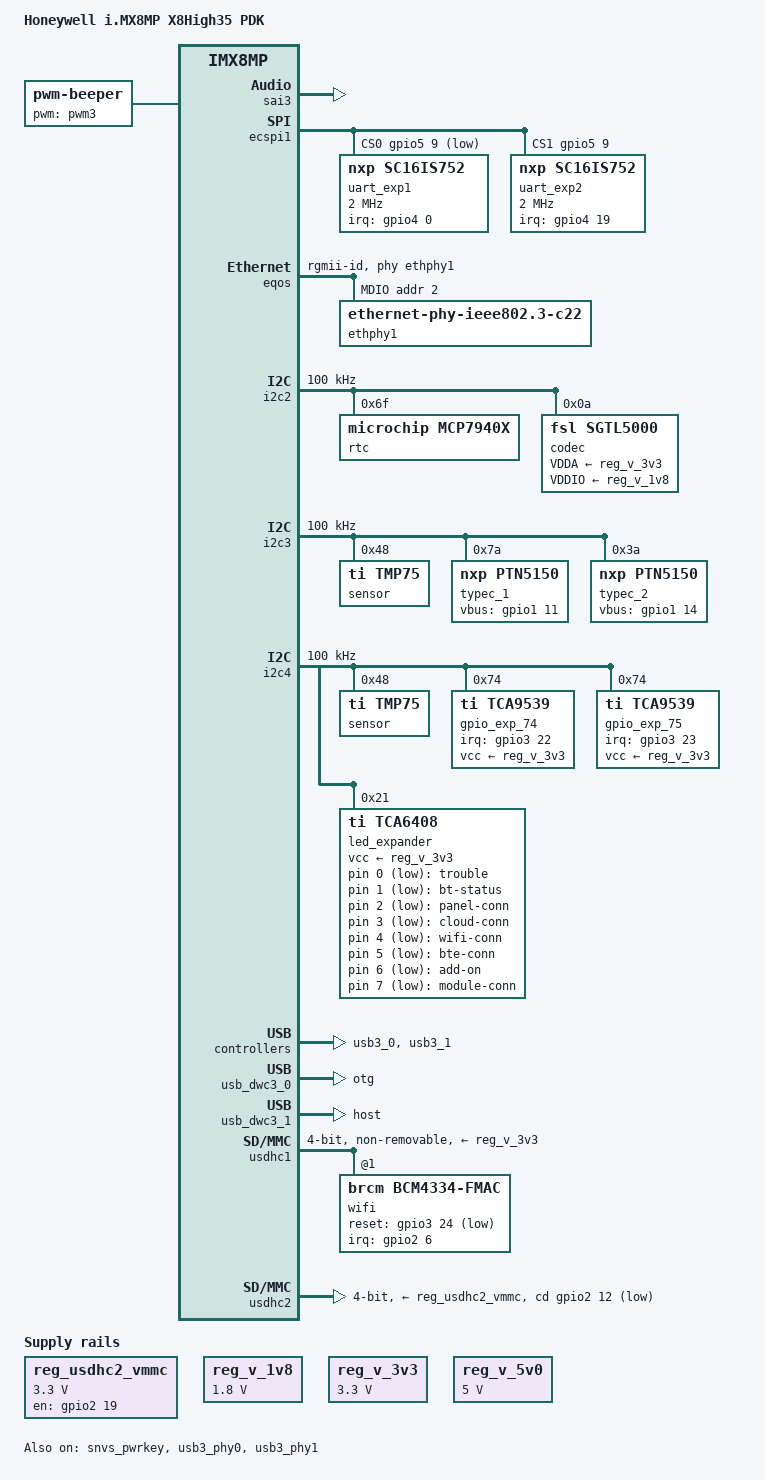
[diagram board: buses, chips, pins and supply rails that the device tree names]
// SPDX-License-Identifier: (GPL-2.0 OR MIT)
/*
 * Copyright (C) 2018 Jon Nettleton <jon@solid-run.com>
 */

/dts-v1/;

#include "dt-bindings/usb/pd.h"
#include "imx8mp-x8high35-som.dtsi"

/ {
	model = "Honeywell i.MX8MP X8High35 PDK";
	compatible = "Honeywell,x8high35-pdk", "fsl,imx8mp";

	aliases {
		rtc0 = &rtc;
		rtc1 = &snvs_rtc;
	};

	beeper {
		compatible = "pwm-beeper";
		pwms = <&pwm3>;
	};

	chosen {
		stdout-path = &uart2;
	};

	firmware {
		optee {
			compatible = "linaro,optee-tz";
			method = "smc";
		};
	};


	leds {
		compatible = "gpio-leds";

		dl14 {
			label = "trouble";
			gpios = <&led_expander 0 GPIO_ACTIVE_LOW>;
		};

		dl15 {
			label = "bt-status";
			gpios = <&led_expander 1 GPIO_ACTIVE_LOW>;
		};

		dl16 {
			label = "panel-conn";
			gpios = <&led_expander 2 GPIO_ACTIVE_LOW>;
		};

		dl17 {
			label = "cloud-conn";
			gpios = <&led_expander 3 GPIO_ACTIVE_LOW>;
		};

		dl18 {
			label = "wifi-conn";
			gpios = <&led_expander 4 GPIO_ACTIVE_LOW>;
		};

		dl19 {
			label = "bte-conn";
			gpios = <&led_expander 5 GPIO_ACTIVE_LOW>;
		};

		dl20 {
			label = "add-on";
			gpios = <&led_expander 6 GPIO_ACTIVE_LOW>;
		};

		dl21 {
			label = "module-conn";
			gpios = <&led_expander 7 GPIO_ACTIVE_LOW>;
		};
	};

	bus@30c00000 { /* AIPS5 */
		compatible = "simple-bus";
		reg = <0x30c00000 0x400000>;
		#address-cells = <1>;
		#size-cells = <1>;
		ranges;

		spba-bus@30c00000 {
			compatible = "fsl,spba-bus", "simple-bus";
			reg = <0x30c00000 0x100000>;
			#address-cells = <1>;
			#size-cells = <1>;
			ranges;

			sai3: sai@30c30000 {
				#sound-dai-cells = <0>;
				compatible = "fsl,imx8mq-sai";
				reg = <0x308c0000 0x10000>;
				interrupts = <GIC_SPI 50 IRQ_TYPE_LEVEL_HIGH>;
				clocks = <&clk IMX8MP_CLK_AUDIOMIX_SAI3_IPG>,
				     <&clk IMX8MP_CLK_DUMMY>, <&clk IMX8MP_CLK_AUDIOMIX_SAI3_MCLK1>,
				     <&clk IMX8MP_CLK_DUMMY>, <&clk IMX8MP_CLK_DUMMY>;
				clock-names = "bus", "mclk0", "mclk1", "mclk2", "mclk3";
				dmas = <&sdma1 12 24 0>, <&sdma1 13 24 0>;
				dma-names = "rx", "tx";
				status = "disabled";
			};
		};
	};

	reg_usdhc2_vmmc: regulator-usdhc2-vmmc {
		compatible = "regulator-fixed";
		pinctrl-names = "default";
		pinctrl-0 = <&pinctrl_reg_usdhc2_vmmc>;
		regulator-name = "VSD_3V3";
		regulator-min-microvolt = <3300000>;
		regulator-max-microvolt = <3300000>;
		gpio = <&gpio2 19 GPIO_ACTIVE_HIGH>;
		enable-active-high;
	};

	reg_v_1v8: regulator-v-1v8 {
		compatible = "regulator-fixed";
		regulator-name = "v_1v8";
		regulator-max-microvolt = <1800000>;
		regulator-min-microvolt = <1800000>;
		regulator-always-on;
	};

	reg_v_3v3: regulator-v-3v3 {
		compatible = "regulator-fixed";
		regulator-name = "v_3v3";
		regulator-max-microvolt = <3300000>;
		regulator-min-microvolt = <3300000>;
		regulator-always-on;
	};

	reg_v_5v0: regulator-v-5v0 {
		compatible = "regulator-fixed";
		regulator-name = "v_5v0";
		regulator-max-microvolt = <5000000>;
		regulator-min-microvolt = <5000000>;
		regulator-always-on;
	};
};

&ecspi1 {
	pinctrl-names = "default";
	pinctrl-0 = <&pinctrl_ecspi1 &pinctrl_ecspi1_cs0
		&pinctrl_uart_exp1_int &pinctrl_uart_exp2_int>;
	cs-gpios = <&gpio5 9 GPIO_ACTIVE_LOW>,
		<&gpio5 9 GPIO_ACTIVE_HIGH>;
	status = "okay";

	#address-cells = <1>;
	#size-cells = <0>;

	uart_exp1@0 {
		compatible = "nxp,sc16is752";
		reg = <0x0>;
		interrupt-parent = <&gpio4>;
		interrupts = <0 IRQ_TYPE_EDGE_FALLING>;
		clock-frequency = <14745600>;
		spi-max-frequency = <2000000>;
    };

	uart_exp2@1 {
		compatible = "nxp,sc16is752";
		reg = <0x1>;
		interrupt-parent = <&gpio4>;
		interrupts = <19 IRQ_TYPE_EDGE_FALLING>;
		clock-frequency = <14745600>;
		spi-max-frequency = <2000000>;
    };
};

&eqos {
	pinctrl-names = "default";
	pinctrl-0 = <&pinctrl_eqos>;
	phy-mode = "rgmii-id";
	phy-handle = <&ethphy1>;
	status = "okay";

	mdio {
		compatible = "snps,dwmac-mdio";
		#address-cells = <1>;
		#size-cells = <0>;

		ethphy1: ethernet-phy@2 {
			compatible = "ethernet-phy-ieee802.3-c22";
			reg = <2>;
			eee-broken-1000t;
			eee-broken-100tx;
			eee-broken-10gt;
		};
	};
};

&i2c2 {
	pinctrl-names = "default";
	pinctrl-0 = <&pinctrl_i2c2>;
	clock-frequency = <100000>;
	status = "okay";

	rtc: rtc@6f {
		compatible = "microchip,mcp7940x";
		reg = <0x6f>;
	};

	codec: sgtl5000@a {
		#sound-dai-cells = <0>;
		compatible = "fsl,sgtl5000";
		reg = <0xa>;
		VDDA-supply = <&reg_v_3v3>;
		VDDIO-supply = <&reg_v_1v8>;
		clocks = <&clk IMX8MP_CLK_AUDIOMIX_SAI3_MCLK1>;
	};

	/* ToDo: CSI1/2 , DSI */
};

&i2c3 {
	pinctrl-names = "default";
	pinctrl-0 = <&pinctrl_i2c3>;
	clock-frequency = <100000>;
	status = "okay";

	sensor@48 {
		compatible = "ti,tmp75";
		reg = <0x48>;
	};

	typec_1: ptn5150@7a {
		compatible = "nxp,ptn5150";
		reg = <0x7a>;
		vbus-gpio = <&gpio1 11 GPIO_ACTIVE_HIGH>;
		status = "okay";
	};

	typec_2: ptn5150@3a {
		compatible = "nxp,ptn5150";
		reg = <0x3a>;
		vbus-gpio = <&gpio1 14 GPIO_ACTIVE_HIGH>;
		status = "okay";
	};

	/* ToDo: Pi, LVDS0/1 */
};

&i2c4 {
	pinctrl-names = "default";
	pinctrl-0 = <&pinctrl_i2c4>;
	clock-frequency = <100000>;
	status = "okay";

	sensor@48 {
		compatible = "ti,tmp75";
		reg = <0x48>;
	};

	gpio_exp_74: gpio@74 {
		compatible = "ti,tca9539";
		reg = <0x74>;
		gpio-controller;
		#gpio-cells = <2>;
		interrupt-controller;
		interrupt-parent = <&gpio3>;
		interrupts = <22 IRQ_TYPE_EDGE_FALLING>;
		vcc-supply = <&reg_v_3v3>;

		port1_3v3_pwr_ctl {
			gpio-hog;
			gpios = <0 GPIO_ACTIVE_HIGH>;
			line-name = "PORT1_3V3_PWR_CTL";
		};

		nint_port1 {
			gpio-hog;
			gpios = <1 GPIO_ACTIVE_LOW>;
			line-name = "nINT_PORT1";
		};

		port1_nrst {
			gpio-hog;
			gpios = <2 GPIO_ACTIVE_LOW>;
			line-name = "PORT1_nRST";
		};

		/* ToDo: GPIO/SPI_CTS_PORT1 (P03) */

		board_id_1 {
			gpio-hog;
			gpios = <4 0>;
			input;
			line-name = "BOARD_ID_1";
		};

		board_id_2 {
			gpio-hog;
			gpios = <5 0>;
			input;
			line-name = "BOARD_ID_2";
		};

		board_id_3 {
			gpio-hog;
			gpios = <6 0>;
			input;
			line-name = "BOARD_ID_3";
		};

		board_id_4 {
			gpio-hog;
			gpios = <7 0>;
			input;
			line-name = "BOARD_ID_4";
		};

		lte_igt {
			gpio-hog;
			gpios = <8 GPIO_ACTIVE_HIGH>;
			output-low;
			line-name = "LTE_IGT";
		};

		lte_radio_usb_ctrl {
			gpio-hog;
			gpios = <9 GPIO_ACTIVE_HIGH>;
			output-low;
			line-name = "LTE_RADIO_USB_CTR";
		};

		lte_power_en {
			gpio-hog;
			gpios = <10 GPIO_ACTIVE_HIGH>;
			output-low;
			line-name = "LTE_POWER_EN";
		};

		lte_emergency_off {
			gpio-hog;
			gpios = <11 GPIO_ACTIVE_HIGH>;
			output-low;
			line-name = "LTE_EMERGENCY_OFF";
		};

		lte_uart_dtr {
			gpio-hog;
			gpios = <12 GPIO_ACTIVE_HIGH>;
			output-low;
			line-name = "LTE_UART_DTR";
		};

		lte_vdd5v_en {
			gpio-hog;
			gpios = <13 GPIO_ACTIVE_HIGH>;
			output-low;
			line-name = "LTE_VDD5V_EN";
		};

		/* ToDo: GPIO/SPI_CTS_PORT1 (P03) */

		lte_ring_wakeup {
			gpio-hog;
			gpios = <15 GPIO_ACTIVE_HIGH>;
			output-low;
			line-name = "LTE_RING_WAKEUP";
		};
	};

	gpio_exp_75: gpio@75 {
		compatible = "ti,tca9539";
		reg = <0x74>;
		gpio-controller;
		#gpio-cells = <2>;
		interrupt-controller;
		interrupt-parent = <&gpio3>;
		interrupts = <23 IRQ_TYPE_EDGE_FALLING>;
		vcc-supply = <&reg_v_3v3>;
	};

	led_expander: led-controller@21 {
		compatible = "ti,tca6408";
		reg = <0x21>;
		vcc-supply = <&reg_v_3v3>;
		gpio-controller;
		#gpio-cells = <2>;
	};
};

&sai3 {
	pinctrl-names = "default";
	pinctrl-0 = <&pinctrl_sai3>;
	assigned-clocks = <&clk IMX8MP_CLK_SAI3>;
	assigned-clock-parents = <&clk IMX8MP_AUDIO_PLL1_OUT>;
	assigned-clock-rates = <24576000>;
	fsl,sai-mclk-direction-output;
	status = "okay";
};

&snvs_pwrkey {
	status = "okay";
};

&usb3_phy0 {
	status = "okay";
};

&usb3_0 {
	status = "okay";
};

&usb_dwc3_0 {
	pinctrl-names = "default";
	pinctrl-0 = <&pinctrl_usb1_vbus>;
	dr_mode = "otg";
	status = "okay";

	extcon = <&typec_1>;
};

&usb3_phy1 {
	status = "okay";
};

&usb3_1 {
	status = "okay";
};

&usb_dwc3_1 {
	pinctrl-names = "default";
	pinctrl-0 = <&pinctrl_usb2_vbus>;
	dr_mode = "host";
	status = "okay";
};

&usdhc1 {
	assigned-clocks = <&clk IMX8MP_CLK_USDHC1>;
	assigned-clock-rates = <400000000>;
	pinctrl-names = "default", "state_100mhz", "state_200mhz";
	pinctrl-0 = <&pinctrl_usdhc1>;
	pinctrl-1 = <&pinctrl_usdhc1_100mhz>;
	pinctrl-2 = <&pinctrl_usdhc1_200mhz>;
	vmmc-supply = <&reg_v_3v3>;
	bus-width = <4>;
	non-removable;
	sd-uhs-ddr50;
	keep-power-in-suspend;
	status = "okay";

	wifi@1 {
		compatible = "brcm,bcm4334-fmac", "brcm,bcm4329-fmac";
		reg = <1>;
		interrupt-parent = <&gpio2>;
		interrupts = <6 IRQ_TYPE_EDGE_FALLING>;
		interrupt-names = "host-wake";
		reset-gpios = <&gpio3 24 GPIO_ACTIVE_LOW>;
	};
};

&usdhc2 {
	assigned-clocks = <&clk IMX8MP_CLK_USDHC2>;
	assigned-clock-rates = <400000000>;
	pinctrl-names = "default", "state_100mhz", "state_200mhz";
	pinctrl-0 = <&pinctrl_usdhc2>, <&pinctrl_usdhc2_gpio>;
	pinctrl-1 = <&pinctrl_usdhc2_100mhz>, <&pinctrl_usdhc2_gpio>;
	pinctrl-2 = <&pinctrl_usdhc2_200mhz>, <&pinctrl_usdhc2_gpio>;
	cd-gpios = <&gpio2 12 GPIO_ACTIVE_LOW>;
	vmmc-supply = <&reg_usdhc2_vmmc>;
	bus-width = <4>;
	status = "okay";
};
